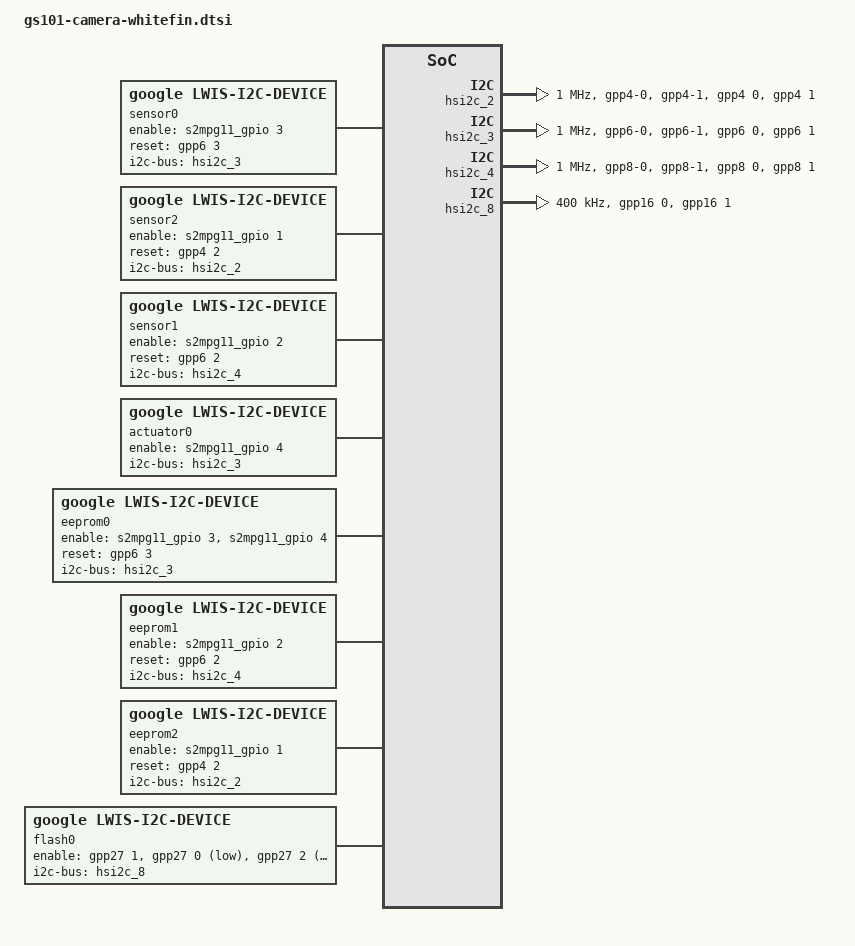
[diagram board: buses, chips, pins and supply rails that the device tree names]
// SPDX-License-Identifier: GPL-2.0-only
/*
 * LWIS camera device tree entries specific to whitefin
 *
 * Copyright 2020 Google LLC.
 *
 */

#include <dt-bindings/clock/gs101.h>
#include <dt-bindings/gpio/gpio.h>
#include <dt-bindings/pinctrl/samsung.h>

&pinctrl_4 {
	hsi2c2_bus: hsi2c2-bus {
		samsung,pin-pud = <EXYNOS_PIN_PULL_UP>;
	};

	hsi2c2_bus_in: hsi2c2-bus-in {
		samsung,pins = "gpp4-0", "gpp4-1";
		samsung,pin-function = <EXYNOS_PIN_FUNC_INPUT>;
		samsung,pin-pud = <EXYNOS_PIN_PULL_NONE>;
		samsung,pin-drv = <GS101_PIN_DRV_2_5_MA>;
	};

	hsi2c3_bus: hsi2c3-bus {
		samsung,pin-pud = <EXYNOS_PIN_PULL_UP>;
	};

	hsi2c3_bus_in: hsi2c3-bus-in {
		samsung,pins = "gpp6-0", "gpp6-1";
		samsung,pin-function = <EXYNOS_PIN_FUNC_INPUT>;
		samsung,pin-pud = <EXYNOS_PIN_PULL_NONE>;
		samsung,pin-drv = <GS101_PIN_DRV_2_5_MA>;
	};

	hsi2c4_bus: hsi2c4-bus {
		samsung,pin-pud = <EXYNOS_PIN_PULL_UP>;
	};

	hsi2c4_bus_in: hsi2c4-bus-in {
		samsung,pins = "gpp8-0", "gpp8-1";
		samsung,pin-function = <EXYNOS_PIN_FUNC_INPUT>;
		samsung,pin-pud = <EXYNOS_PIN_PULL_NONE>;
		samsung,pin-drv = <GS101_PIN_DRV_2_5_MA>;
	};
};

&pinctrl_5 {
	flash_active: flash_active {
		samsung,pins = "gpp27-1";
		samsung,pin-function = <EXYNOS_PIN_FUNC_OUTPUT>;
		samsung,pin-pud = <EXYNOS_PIN_PULL_NONE>;
	};

	flash_suspend: flash_suspend {
		samsung,pins = "gpp27-1";
		samsung,pin-function = <EXYNOS_PIN_FUNC_INPUT>;
		samsung,pin-pud = <EXYNOS_PIN_PULL_DOWN>;
	};
};

&hsi2c_2 {
	#address-cells = <1>;
	#size-cells = <0>;
	gpios = <&gpp4 0 0 &gpp4 1 0>;
	status = "okay";
	clock-frequency = <1000000>;
	samsung,reset-before-trans;

	pinctrl-names = "default","on_i2c","off_i2c";
	pinctrl-0 = <&hsi2c2_bus_in>;
	pinctrl-1 = <&hsi2c2_bus>;
	pinctrl-2 = <&hsi2c2_bus_in>;
};

&hsi2c_3 {
	#address-cells = <1>;
	#size-cells = <0>;
	gpios = <&gpp6 0 0 &gpp6 1 0>; /* RCAM_SCL RCAM_SDA */
	status = "okay";
	clock-frequency = <1000000>;
	samsung,reset-before-trans;

	pinctrl-names = "default","on_i2c","off_i2c";
	pinctrl-0 = <&hsi2c3_bus_in>;
	pinctrl-1 = <&hsi2c3_bus>;
	pinctrl-2 = <&hsi2c3_bus_in>;
};

&hsi2c_4 {
	#address-cells = <1>;
	#size-cells = <0>;
	gpios = <&gpp8 0 0 &gpp8 1 0>;
	status = "okay";
	clock-frequency = <1000000>;
	samsung,reset-before-trans;

	pinctrl-names = "default","on_i2c","off_i2c";
	pinctrl-0 = <&hsi2c4_bus_in>;
	pinctrl-1 = <&hsi2c4_bus>;
	pinctrl-2 = <&hsi2c4_bus_in>;
};

&hsi2c_8 {
	#address-cells = <1>;
	#size-cells = <0>;
	gpios = <&gpp16 0 0 &gpp16 1 0>;
	status = "okay";
	clock-frequency = <400000>;

	pinctrl-names = "default","on_i2c","off_i2c";
	pinctrl-0 = <&hsi2c8_bus>;
	pinctrl-1 = <&hsi2c8_bus>;
	pinctrl-2 = <&hsi2c8_bus>;
};

/ {
	fragment@lwiscamera {
		target-path = "/";
		__overlay__ {
			sensor0: sensor@0 {
				compatible = "google,lwis-i2c-device";

				/* Device node name */
				node-name = "sensor0";

				/* I2C */
				i2c-bus = <&hsi2c_3>;
				i2c-addr = <0x10>;

				/* Registers */
				reg-addr-bitwidth = <16>;
				reg-value-bitwidth = <8>;

				/* GPIOs */
				enable-gpios = <&s2mpg11_gpio 3 GPIO_ACTIVE_HIGH>;
				reset-gpios = <&gpp6 3 GPIO_ACTIVE_HIGH>;

				/* Power supplies */
				regulators =
					<&slg51000_ldo1 &slg51000_ldo3
					 &slg51000_ldo4 &slg51000_ldo6
					 &slg51000_ldo7>;
				regulator-voltages =
					<2850000 2850000
					 1800000 1100000
					 1800000>;

				clocks =
					<&clock CIS_CLK0>,
					<&clock GATE_DFTMUX_CMU_CIS_CLK0>;
				clock-names =
					"CIS_CLK0",
					"GATE_DFTMUX_CMU_CIS_CLK0";
				clock-rates =
					<24000000>,
					<0>;

				/* MCLK Control */
				pinctrl-names = "mclk_on", "mclk_off";
				pinctrl-0 = <&sensor_mclk1_fn>;
				pinctrl-1 = <&sensor_mclk1_out>;
			};

			/* FRONT CAMERA IMX355 */
			sensor2: sensor@2 {
				compatible = "google,lwis-i2c-device";

				/* Device node name */
				node-name = "sensor2";

				/* I2C */
				i2c-bus = <&hsi2c_2>;
				i2c-addr = <0x1A>;

				/* Registers */
				reg-addr-bitwidth = <16>;
				reg-value-bitwidth = <8>;

				/* GPIOs */
				enable-gpios = <&s2mpg11_gpio 1 GPIO_ACTIVE_HIGH>;
				reset-gpios = <&gpp4 2 GPIO_ACTIVE_HIGH>;

				/* Power supplies */
				regulators = <&slg51000_ldo7>;
				regulator-voltages = <1800000>;

				clocks =
					<&clock CIS_CLK1>,
					<&clock GATE_DFTMUX_CMU_CIS_CLK1>;
				clock-names =
					"CIS_CLK1",
					"GATE_DFTMUX_CMU_CIS_CLK1";
				clock-rates =
					<24000000>,
					<0>;

				/* MCLK Control */
				pinctrl-names = "mclk_on", "mclk_off";
				pinctrl-0 = <&sensor_mclk2_fn>;
				pinctrl-1 = <&sensor_mclk2_out>;
			};

			/* REAR CAMERA IMX481 */
			sensor1: sensor@1 {
				compatible = "google,lwis-i2c-device";

				/* Device node name */
				node-name = "sensor1";

				/* I2C */
				i2c-bus = <&hsi2c_4>;
				i2c-addr = <0x1A>;

				/* Registers */
				reg-addr-bitwidth = <16>;
				reg-value-bitwidth = <8>;

				/* GPIOs */
				enable-gpios = <&s2mpg11_gpio 2 GPIO_ACTIVE_HIGH>;
				reset-gpios = <&gpp6 2 GPIO_ACTIVE_HIGH>;

				/* Power supplies */
				regulators =
					<&slg51000_ldo2 &slg51000_ldo3
					 &slg51000_ldo5 &slg51000_ldo7>;
				regulator-voltages =
					<2850000 2850000 1100000 1800000>;

				clocks =
					<&clock CIS_CLK2>,
					<&clock GATE_DFTMUX_CMU_CIS_CLK2>;
				clock-names =
					"CIS_CLK2",
					"GATE_DFTMUX_CMU_CIS_CLK2";
				clock-rates =
					<24000000>,
					<0>;

				/* MCLK Control */
				pinctrl-names = "mclk_on", "mclk_off";
				pinctrl-0 = <&sensor_mclk3_fn>;
				pinctrl-1 = <&sensor_mclk3_out>;
			};

			actuator0: actuator@0 {
				compatible = "google,lwis-i2c-device";

				/* Device node name */
				node-name = "act0";

				/* I2C */
				i2c-bus = <&hsi2c_3>;
				i2c-addr = <0x3b>;

				/* Registers */
				reg-addr-bitwidth = <16>;
				reg-value-bitwidth = <32>;

				/* GPIOs */
				enable-gpios = <&s2mpg11_gpio 4 GPIO_ACTIVE_HIGH>;

				/* Power supplies */
				regulators =
					<&slg51000_ldo3 &slg51000_ldo7>;
				regulator-voltages =
					<2850000 1800000>;

				clocks =
					<&clock CIS_CLK0>,
					<&clock GATE_DFTMUX_CMU_CIS_CLK0>;
				clock-names =
					"CIS_CLK0",
					"GATE_DFTMUX_CMU_CIS_CLK0";
				clock-rates =
					<24000000>,
					<0>;
			};

			eeprom0: eeprom@0 {
				compatible = "google,lwis-i2c-device";

				/* Device node name */
				node-name = "eeprom0";

				/* I2C */
				i2c-bus = <&hsi2c_3>;
				i2c-addr = <0x3b>;

				/* Registers */
				reg-addr-bitwidth = <16>;
				reg-value-bitwidth = <32>;

				/* GPIOs */
				enable-gpios =
					<&s2mpg11_gpio 3 GPIO_ACTIVE_HIGH>,
					<&s2mpg11_gpio 4 GPIO_ACTIVE_HIGH>;
				reset-gpios = <&gpp6 3 GPIO_ACTIVE_HIGH>;

				/* Power supplies */
				regulators = <&slg51000_ldo7>;
				regulator-voltages = <1800000>;

				clocks =
					<&clock CIS_CLK0>,
					<&clock GATE_DFTMUX_CMU_CIS_CLK0>;
				clock-names =
					"CIS_CLK0",
					"GATE_DFTMUX_CMU_CIS_CLK0";
				clock-rates =
					<24000000>,
					<0>;
			};

			eeprom1: eeprom@1 {
				compatible = "google,lwis-i2c-device";

				/* Device node name */
				node-name = "eeprom1";

				/* I2C */
				i2c-bus = <&hsi2c_4>;
				i2c-addr = <0x50>;

				/* Registers */
				reg-addr-bitwidth = <16>;
				reg-value-bitwidth = <8>;

				/* GPIOs */
				enable-gpios = <&s2mpg11_gpio 2 GPIO_ACTIVE_HIGH>;
				reset-gpios = <&gpp6 2 GPIO_ACTIVE_HIGH>;

				/* Power supplies */
				regulators =
					<&slg51000_ldo2 &slg51000_ldo3
					 &slg51000_ldo5 &slg51000_ldo7>;
				regulator-voltages =
					<2850000 2850000 1100000 1800000>;

				clocks =
					<&clock CIS_CLK2>,
					<&clock GATE_DFTMUX_CMU_CIS_CLK2>;
				clock-names =
					"CIS_CLK2",
					"GATE_DFTMUX_CMU_CIS_CLK2";
				clock-rates =
					<24000000>,
					<0>;
			};

			eeprom2: eeprom@2 {
				compatible = "google,lwis-i2c-device";

				/* Device node name */
				node-name = "eeprom2";

				/* I2C */
				i2c-bus = <&hsi2c_2>;
				i2c-addr = <0x51>;

				/* Registers */
				reg-addr-bitwidth = <16>;
				reg-value-bitwidth = <8>;

				/* GPIOs */
				enable-gpios = <&s2mpg11_gpio 1 GPIO_ACTIVE_HIGH>;
				reset-gpios = <&gpp4 2 GPIO_ACTIVE_HIGH>;

				/* Power supplies */
				regulators = <&slg51000_ldo7>;
				regulator-voltages = <1800000>;

				clocks =
					<&clock CIS_CLK1>,
					<&clock GATE_DFTMUX_CMU_CIS_CLK1>;
				clock-names =
					"CIS_CLK1",
					"GATE_DFTMUX_CMU_CIS_CLK1";
				clock-rates =
					<24000000>,
					<0>;
			};

			flash0: flash@0 {
				compatible = "google,lwis-i2c-device";

				/* Device node name */
				node-name = "flash0";

				/* I2C */
				i2c-bus = <&hsi2c_8>;
				i2c-addr = <0x63>;

				/* Registers */
				reg-addr-bitwidth = <8>;
				reg-value-bitwidth = <8>;

				pinctrl-names = "mclk_on", "mclk_off";
				pinctrl-0 = <&flash_active>;
				pinctrl-1 = <&flash_suspend>;

				/* GPIOs */
				/* HW_ENABLE GPP27[1] */
				/* FLASH_STROBE GPP27[0] */
				/* FLASH_TORCH GPP27[2] */
				enable-gpios =
					<&gpp27 1 GPIO_ACTIVE_HIGH
					 &gpp27 0 GPIO_ACTIVE_LOW
					 &gpp27 2 GPIO_ACTIVE_LOW>;
			};
		};
	};
};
